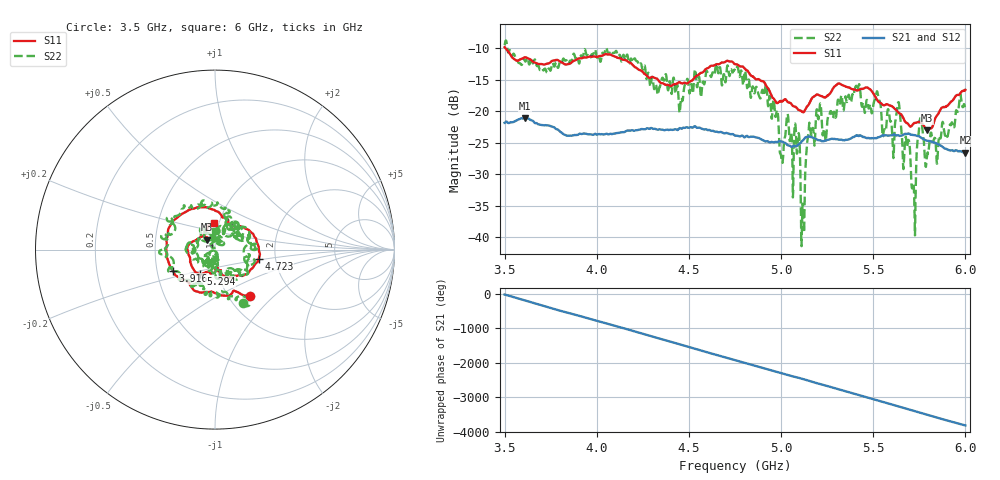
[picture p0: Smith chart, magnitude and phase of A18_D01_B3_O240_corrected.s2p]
! Created with skrf 1.9.0 (http://scikit-rf.org).
# Hz S RI R 50.0
!freq ReS11 ImS11 ReS21 ImS21 ReS12 ImS12 ReS22 ImS22
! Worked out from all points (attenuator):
!   1601 points, 3.5 GHz to 6 GHz, reference 50 ohm
!   highest |S21| = -21.09 dB at 3.611 GHz (marker M1); lowest = -26.6 dB at 6 GHz (marker M2)
!   lowest |S11| = -23.0 dB at 5.791 GHz (marker M3), VSWR 1.15, Z = 45.6 + j5.16 ohm
!   |S11| at or under -10 dB: 3.505 GHz to end of sweep
!   |S22| runs from -41.4 to -8.8 dB; largest |S21 - S12| = 0.0013
!   S11 on the Smith chart (normalised r, x): 3.5 GHz: 1.25, -0.72; 3.916 GHz: 0.61, -0.15; 4.723 GHz: 1.63, -0.18; 5.294 GHz: 0.82, -0.23; 6 GHz: 0.94, +0.28
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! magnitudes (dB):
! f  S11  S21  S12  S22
! 3.5 GHz  -9.8  -21.8  -21.8  -9.5
! 3.611 GHz  -11.4  -21.1  -21.1  -12.1
! 3.916 GHz  -11.6  -23.6  -23.6  -11.2
! 3.917 GHz  -11.6  -23.6  -23.6  -11.2
! 4.334 GHz  -15.1  -22.9  -22.9  -17.0
! 4.723 GHz  -12.1  -23.6  -23.6  -14.1
! 4.75 GHz  -12.5  -23.9  -23.8  -13.5
! 4.927 GHz  -16.2  -24.7  -24.8  -18.2
! 5.003 GHz  -18.4  -24.8  -24.9  -27.8
! 5.031 GHz  -18.4  -25.3  -25.2  -20.9
! 5.086 GHz  -19.5  -25.5  -25.5  -26.7
! 5.117 GHz  -20.1  -24.7  -24.6  -34.7
! 5.145 GHz  -19.1  -24.0  -24.0  -24.2
! 5.167 GHz  -17.9  -24.1  -24.1  -23.5
! 5.294 GHz  -16.0  -24.4  -24.4  -20.8
! 5.414 GHz  -16.7  -23.8  -23.9  -16.4
! 5.584 GHz  -19.0  -23.9  -23.9  -19.9
! 5.639 GHz  -20.3  -23.9  -23.9  -18.6
! 5.719 GHz  -21.9  -23.8  -23.8  -31.7
! 5.753 GHz  -21.7  -24.1  -24.0  -21.4
! 5.791 GHz  -23.0  -24.7  -24.6  -27.4
! 6 GHz  -16.6  -26.6  -26.5  -19.9
